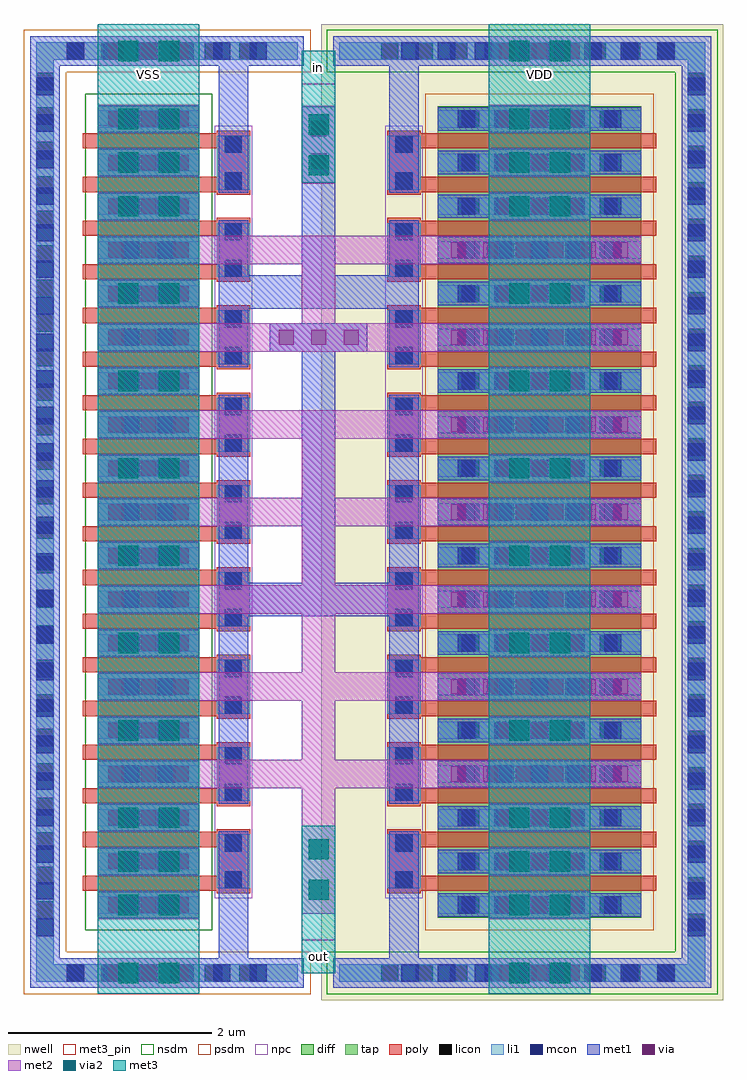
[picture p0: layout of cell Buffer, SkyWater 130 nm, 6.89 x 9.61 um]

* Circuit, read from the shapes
.subckt Buffer VDD VSS in out
XM1 VSS VSS VSS VSS sky130_fd_pr__nfet_01v8 w=1 l=0.15 m=4
XM2 out n1 VSS VSS sky130_fd_pr__nfet_01v8 w=1 l=0.15 m=10
XM3 n1 in VSS VSS sky130_fd_pr__nfet_01v8 w=1 l=0.15 m=4
XM4 VDD VDD VDD VDD sky130_fd_pr__pfet_01v8 w=2 l=0.15 m=4
XM5 out n1 VDD VDD sky130_fd_pr__pfet_01v8 w=2 l=0.15 m=10
XM6 n1 in VDD VDD sky130_fd_pr__pfet_01v8 w=2 l=0.15 m=4
.ends

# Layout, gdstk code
from math import pi, radians
import gdstk
lib = gdstk.Library(unit=1e-6, precision=1e-09)
def R(c, l, rs):  # rectangles x0, y0, x1, y1
    for r in rs: c.add(gdstk.rectangle(r[:2], r[2:], *l))
def A(c, l, x, y, w, h, nx, ny, dx, dy):  # array of equal rectangles
    R(c, l, [(x+i*dx, y+j*dy, x+i*dx+w, y+j*dy+h) for i in range(nx) for j in range(ny)])
nwell = (64, 20)
diff = (65, 20)
tap = (65, 44)
poly = (66, 20)
licon = (66, 44)
li1 = (67, 20)
mcon = (67, 44)
met1 = (68, 20)
via = (68, 44)
met2 = (69, 20)
via2 = (69, 44)
met3_pin = (70, 16)
met3 = (70, 20)
nsdm = (93, 44)
psdm = (94, 20)
npc = (95, 20)

m1m2_c_cdns_713556821256 = lib.new_cell('M1M2_C_CDNS_7135568212561')
R(m1m2_c_cdns_713556821256, met1, [(-0.5,-0.145,0.5,0.145)])
A(m1m2_c_cdns_713556821256, via, -0.395, -0.075, 0.15, 0.15, 3, 1, 0.32, 0)
R(m1m2_c_cdns_713556821256, met2, [(-0.5,-0.145,0.5,0.145)])

c_m1m2_c_cdns_713556821256 = lib.new_cell('M1M2_C_CDNS_7135568212563')
R(c_m1m2_c_cdns_713556821256, met1, [(-0.5,-0.13,0.5,0.13)])
A(c_m1m2_c_cdns_713556821256, via, -0.395, -0.075, 0.15, 0.15, 3, 1, 0.32, 0)
R(c_m1m2_c_cdns_713556821256, met2, [(-0.5,-0.14,0.5,0.14)])

m2m3_c_cdns_713556821255 = lib.new_cell('M2M3_C_CDNS_713556821255')
R(m2m3_c_cdns_713556821255, met2, [(-0.165,-0.43,0.165,0.43)])
R(m2m3_c_cdns_713556821255, via2, [(-0.1,-0.3,0.1,-0.1), (-0.1,0.1,0.1,0.3)])
R(m2m3_c_cdns_713556821255, met3, [(-0.165,-0.43,0.165,0.43)])

m2m3_c_cdns_713556821256 = lib.new_cell('M2M3_C_CDNS_7135568212562')
R(m2m3_c_cdns_713556821256, met2, [(-0.5,-0.145,0.5,0.145)])
R(m2m3_c_cdns_713556821256, via2, [(-0.3,-0.1,-0.1,0.1), (0.1,-0.1,0.3,0.1)])
R(m2m3_c_cdns_713556821256, met3, [(-0.5,-0.165,0.5,0.165)])

c_m2m3_c_cdns_713556821256 = lib.new_cell('M2M3_C_CDNS_7135568212564')
R(c_m2m3_c_cdns_713556821256, met2, [(-0.5,-0.14,0.5,0.14)])
R(c_m2m3_c_cdns_713556821256, via2, [(-0.3,-0.1,-0.1,0.1), (0.1,-0.1,0.3,0.1)])
R(c_m2m3_c_cdns_713556821256, met3, [(-0.5,-0.165,0.5,0.165)])

polyconn_cdns_7135568212 = lib.new_cell('polyConn_CDNS_713556821250')
R(polyconn_cdns_7135568212, poly, [(-0.165,-0.315,0.165,0.315)])
R(polyconn_cdns_7135568212, licon, [(-0.085,-0.265,0.085,-0.095), (-0.085,0.095,0.085,0.265)])
R(polyconn_cdns_7135568212, li1, [(-0.165,-0.265,0.165,0.265)])
R(polyconn_cdns_7135568212, mcon, [(-0.085,-0.265,0.085,-0.095), (-0.085,0.095,0.085,0.265)])
R(polyconn_cdns_7135568212, met1, [(-0.145,-0.295,0.145,0.295)])
R(polyconn_cdns_7135568212, npc, [(-0.185,-0.365,0.185,0.365)])

m1m2_c_cdns_713556821254 = lib.new_cell('M1M2_C_CDNS_7135568212544')
R(m1m2_c_cdns_713556821254, met1, [(-0.5,-0.13,0.5,0.13)])
A(m1m2_c_cdns_713556821254, via, -0.395, -0.075, 0.15, 0.15, 3, 1, 0.32, 0)
R(m1m2_c_cdns_713556821254, met2, [(-0.5,-0.13,0.5,0.13)])

nfet_01v8_cdns_713556821 = lib.new_cell('nfet_01v8_CDNS_7135568212510')
R(nfet_01v8_cdns_713556821, diff, [(0,-0.845,1,0.055)])
R(nfet_01v8_cdns_713556821, poly, [(-0.15,-0.58,1.15,-0.43), (-0.15,-0.15,1.15,0)])
R(nfet_01v8_cdns_713556821, licon, [(0.245,-0.805,0.415,-0.635), (0.585,-0.805,0.755,-0.635), (0.245,-0.375,0.415,-0.205), (0.585,-0.375,0.755,-0.205)])
R(nfet_01v8_cdns_713556821, li1, [(0,-0.805,1,-0.635), (0,-0.375,1,-0.205)])
R(nfet_01v8_cdns_713556821, mcon, [(0.235,-0.805,0.405,-0.635), (0.595,-0.805,0.765,-0.635), (0.235,-0.375,0.405,-0.205), (0.595,-0.375,0.765,-0.205)])
R(nfet_01v8_cdns_713556821, met1, [(0,-0.835,1,-0.605), (0,-0.405,1,-0.175)])
R(nfet_01v8_cdns_713556821, nsdm, [(-0.125,-0.97,1.125,0.18)])

c_nfet_01v8_cdns_713556821 = lib.new_cell('nfet_01v8_CDNS_7135568212517')
R(c_nfet_01v8_cdns_713556821, diff, [(0,-4.245,1,0.055)])
A(c_nfet_01v8_cdns_713556821, poly, -0.15, -4.02, 1.3, 0.15, 1, 10, 0, 0.43)
A(c_nfet_01v8_cdns_713556821, licon, 0.245, -4.245, 0.17, 0.17, 1, 10, 0, 0.43)
A(c_nfet_01v8_cdns_713556821, licon, 0.585, -4.245, 0.17, 0.17, 1, 10, 0, 0.43)
A(c_nfet_01v8_cdns_713556821, li1, 0, -4.245, 1, 0.17, 1, 10, 0, 0.43)
A(c_nfet_01v8_cdns_713556821, mcon, 0.235, -4.245, 0.17, 0.17, 1, 10, 0, 0.43)
A(c_nfet_01v8_cdns_713556821, mcon, 0.595, -4.245, 0.17, 0.17, 1, 10, 0, 0.43)
A(c_nfet_01v8_cdns_713556821, met1, 0, -4.275, 1, 0.23, 1, 10, 0, 0.43)
R(c_nfet_01v8_cdns_713556821, nsdm, [(-0.125,-4.37,1.125,0.18)])

m1m2_c_cdns_713556821255 = lib.new_cell('M1M2_C_CDNS_7135568212558')
R(m1m2_c_cdns_713556821255, met1, [(-1,-0.13,1,0.13)])
A(m1m2_c_cdns_713556821255, via, -0.875, -0.075, 0.15, 0.15, 6, 1, 0.32, 0)
R(m1m2_c_cdns_713556821255, met2, [(-1,-0.13,1,0.13)])

pfet_01v8_cdns_713556821 = lib.new_cell('pfet_01v8_CDNS_7135568212516')
R(pfet_01v8_cdns_713556821, nwell, [(-0.18,-1.025,2.18,0.235)])
R(pfet_01v8_cdns_713556821, diff, [(0,-0.845,2,0.055)])
R(pfet_01v8_cdns_713556821, poly, [(-0.15,-0.58,2.15,-0.43), (-0.15,-0.15,2.15,0)])
A(pfet_01v8_cdns_713556821, licon, 0.235, -0.805, 0.17, 0.17, 5, 2, 0.34, 0.43)
R(pfet_01v8_cdns_713556821, li1, [(0,-0.805,2,-0.635), (0,-0.375,2,-0.205)])
A(pfet_01v8_cdns_713556821, mcon, 0.195, -0.805, 0.17, 0.17, 5, 2, 0.36, 0.43)
R(pfet_01v8_cdns_713556821, met1, [(0,-0.835,2,-0.605), (0,-0.405,2,-0.175)])
R(pfet_01v8_cdns_713556821, psdm, [(-0.125,-0.97,2.125,0.18)])

c_pfet_01v8_cdns_713556821 = lib.new_cell('pfet_01v8_CDNS_7135568212518')
R(c_pfet_01v8_cdns_713556821, nwell, [(-0.18,-4.425,2.18,0.235)])
R(c_pfet_01v8_cdns_713556821, diff, [(0,-4.245,2,0.055)])
A(c_pfet_01v8_cdns_713556821, poly, -0.15, -4.02, 2.3, 0.15, 1, 10, 0, 0.43)
A(c_pfet_01v8_cdns_713556821, licon, 0.235, -4.245, 0.17, 0.17, 5, 10, 0.34, 0.43)
A(c_pfet_01v8_cdns_713556821, li1, 0, -4.245, 2, 0.17, 1, 10, 0, 0.43)
A(c_pfet_01v8_cdns_713556821, mcon, 0.195, -4.245, 0.17, 0.17, 5, 10, 0.36, 0.43)
A(c_pfet_01v8_cdns_713556821, met1, 0, -4.275, 2, 0.23, 1, 10, 0, 0.43)
R(c_pfet_01v8_cdns_713556821, psdm, [(-0.125,-4.37,2.125,0.18)])

c_m1m2_c_cdns_713556821256_ = lib.new_cell('M1M2_C_CDNS_7135568212565')
R(c_m1m2_c_cdns_713556821256_, met1, [(-0.48,-0.14,0.48,0.14)])
A(c_m1m2_c_cdns_713556821256_, via, -0.395, -0.075, 0.15, 0.15, 3, 1, 0.32, 0)
R(c_m1m2_c_cdns_713556821256_, met2, [(-0.48,-0.14,0.48,0.14)])

c_nfet_01v8_cdns_713556821_ = lib.new_cell('nfet_01v8_CDNS_7135568212514')
R(c_nfet_01v8_cdns_713556821_, diff, [(0,-1.665,1,0.225)])
A(c_nfet_01v8_cdns_713556821_, poly, -0.15, -1.44, 1.3, 0.15, 1, 4, 0, 0.43)
A(c_nfet_01v8_cdns_713556821_, licon, 0.245, -1.665, 0.17, 0.17, 1, 5, 0, 0.43)
A(c_nfet_01v8_cdns_713556821_, licon, 0.585, -1.665, 0.17, 0.17, 1, 5, 0, 0.43)
A(c_nfet_01v8_cdns_713556821_, li1, 0, -1.665, 1, 0.17, 1, 5, 0, 0.43)
A(c_nfet_01v8_cdns_713556821_, mcon, 0.235, -1.665, 0.17, 0.17, 1, 5, 0, 0.43)
A(c_nfet_01v8_cdns_713556821_, mcon, 0.595, -1.665, 0.17, 0.17, 1, 5, 0, 0.43)
A(c_nfet_01v8_cdns_713556821_, met1, 0, -1.695, 1, 0.23, 1, 5, 0, 0.43)
R(c_nfet_01v8_cdns_713556821_, nsdm, [(-0.125,-1.79,1.125,0.35)])

c_m1m2_c_cdns_713556821255 = lib.new_cell('M1M2_C_CDNS_7135568212559')
R(c_m1m2_c_cdns_713556821255, met1, [(-0.165,-0.375,0.165,0.375)])
R(c_m1m2_c_cdns_713556821255, via, [(-0.075,-0.235,0.075,-0.085), (-0.075,0.085,0.075,0.235)])
R(c_m1m2_c_cdns_713556821255, met2, [(-0.165,-0.385,0.165,0.385)])

c_m2m3_c_cdns_713556821256_ = lib.new_cell('M2M3_C_CDNS_7135568212560')
R(c_m2m3_c_cdns_713556821256_, met2, [(-0.165,-0.385,0.165,0.385)])
R(c_m2m3_c_cdns_713556821256_, via2, [(-0.1,-0.3,0.1,-0.1), (-0.1,0.1,0.1,0.3)])
R(c_m2m3_c_cdns_713556821256_, met3, [(-0.165,-0.375,0.165,0.375)])

c_nfet_01v8_cdns_713556821__ = lib.new_cell('nfet_01v8_CDNS_7135568212513')
R(c_nfet_01v8_cdns_713556821__, diff, [(0,-0.635,1,0.265)])
R(c_nfet_01v8_cdns_713556821__, poly, [(-0.15,-0.58,1.15,-0.43), (-0.15,-0.15,1.15,0)])
R(c_nfet_01v8_cdns_713556821__, licon, [(0.245,-0.375,0.415,-0.205), (0.585,-0.375,0.755,-0.205), (0.245,0.055,0.415,0.225), (0.585,0.055,0.755,0.225)])
R(c_nfet_01v8_cdns_713556821__, li1, [(0,-0.375,1,-0.205), (0,0.055,1,0.225)])
R(c_nfet_01v8_cdns_713556821__, mcon, [(0.235,-0.375,0.405,-0.205), (0.595,-0.375,0.765,-0.205), (0.235,0.055,0.405,0.225), (0.595,0.055,0.765,0.225)])
R(c_nfet_01v8_cdns_713556821__, met1, [(0,-0.405,1,-0.175), (0,0.025,1,0.255)])
R(c_nfet_01v8_cdns_713556821__, nsdm, [(-0.125,-0.76,1.125,0.39)])

c_pfet_01v8_cdns_713556821_ = lib.new_cell('pfet_01v8_CDNS_7135568212515')
R(c_pfet_01v8_cdns_713556821_, nwell, [(-0.18,-1.845,2.18,0.405)])
R(c_pfet_01v8_cdns_713556821_, diff, [(0,-1.665,2,0.225)])
A(c_pfet_01v8_cdns_713556821_, poly, -0.15, -1.44, 2.3, 0.15, 1, 4, 0, 0.43)
A(c_pfet_01v8_cdns_713556821_, licon, 0.235, -1.665, 0.17, 0.17, 5, 5, 0.34, 0.43)
A(c_pfet_01v8_cdns_713556821_, li1, 0, -1.665, 2, 0.17, 1, 5, 0, 0.43)
A(c_pfet_01v8_cdns_713556821_, mcon, 0.195, -1.665, 0.17, 0.17, 5, 5, 0.36, 0.43)
A(c_pfet_01v8_cdns_713556821_, met1, 0, -1.695, 2, 0.23, 1, 5, 0, 0.43)
R(c_pfet_01v8_cdns_713556821_, psdm, [(-0.125,-1.79,2.125,0.35)])

c_pfet_01v8_cdns_713556821__ = lib.new_cell('pfet_01v8_CDNS_7135568212512')
R(c_pfet_01v8_cdns_713556821__, nwell, [(-0.18,-0.815,2.18,0.445)])
R(c_pfet_01v8_cdns_713556821__, diff, [(0,-0.635,2,0.265)])
R(c_pfet_01v8_cdns_713556821__, poly, [(-0.15,-0.58,2.15,-0.43), (-0.15,-0.15,2.15,0)])
A(c_pfet_01v8_cdns_713556821__, licon, 0.235, -0.375, 0.17, 0.17, 5, 2, 0.34, 0.43)
R(c_pfet_01v8_cdns_713556821__, li1, [(0,-0.375,2,-0.205), (0,0.055,2,0.225)])
A(c_pfet_01v8_cdns_713556821__, mcon, 0.195, -0.375, 0.17, 0.17, 5, 2, 0.36, 0.43)
R(c_pfet_01v8_cdns_713556821__, met1, [(0,-0.405,2,-0.175), (0,0.025,2,0.255)])
R(c_pfet_01v8_cdns_713556821__, psdm, [(-0.125,-0.76,2.125,0.39)])

buffer = lib.new_cell('Buffer')
R(buffer, nwell, [(2.93,-9.61,6.89,0)])
R(buffer, tap, [(0.125,-9.43,2.7,-9.26), (3.11,-9.43,6.71,-9.26), (0.125,-9.26,0.295,-0.35), (6.54,-9.26,6.71,-0.35), (0.125,-0.35,2.7,-0.18), (3.11,-0.35,6.71,-0.18)])
A(buffer, poly, 1.73, -8.535, 0.5, 0.15, 1, 18, 0, 0.43)
A(buffer, poly, 3.58, -8.535, 0.5, 0.15, 1, 18, 0, 0.43)
A(buffer, licon, 0.425, -9.43, 0.17, 0.17, 6, 2, 0.34, 9.08)
A(buffer, licon, 3.52, -9.43, 0.17, 0.17, 9, 2, 0.34, 9.08)
A(buffer, licon, 6.54, -8.93, 0.17, 0.17, 1, 24, 0, 0.36)
A(buffer, licon, 0.125, -8.81, 0.17, 0.17, 1, 25, 0, 0.34)
R(buffer, li1, [(0.125,-9.43,2.7,-9.26), (3.11,-9.43,6.71,-9.26), (0.125,-9.26,0.295,-0.35), (6.54,-9.26,6.71,-0.35), (0.125,-0.35,2.7,-0.18), (3.11,-0.35,6.71,-0.18)])
A(buffer, mcon, 0.425, -9.43, 0.17, 0.17, 6, 2, 0.36, 9.08)
A(buffer, mcon, 3.72, -9.43, 0.17, 0.17, 8, 2, 0.36, 9.08)
A(buffer, mcon, 0.125, -8.98, 0.17, 0.17, 1, 24, 0, 0.36)
A(buffer, mcon, 6.54, -8.98, 0.17, 0.17, 1, 24, 0, 0.36)
R(buffer, met1, [(0.065,-9.49,2.76,-9.2), (3.05,-9.49,6.77,-9.2), (0.065,-9.2,0.355,-0.41), (1.92,-9.2,2.21,-7.95), (3.6,-9.2,3.89,-7.95), (6.48,-9.2,6.77,-0.41), (1.92,-7.68,2.21,-5.83), (3.6,-7.68,3.89,-5.83), (1.92,-5.83,3.89,-5.5), (1.92,-5.5,2.21,-3.65), (2.74,-5.5,3.07,-2.945), (3.6,-5.5,3.89,-3.65), (1.92,-3.38,2.21,-2.805), (3.6,-3.38,3.89,-2.805), (1.92,-2.805,3.89,-2.475), (1.92,-2.475,2.21,-1.93), (2.74,-2.475,3.07,-0.815), (3.6,-2.475,3.89,-1.93), (1.92,-1.66,2.21,-0.41), (3.6,-1.66,3.89,-0.41), (0.065,-0.41,2.76,-0.12), (3.05,-0.41,6.77,-0.12)])
A(buffer, met2, 0.73, -7.525, 5.35, 0.28, 1, 7, 0, 0.86)
A(buffer, met2, 2.74, -7.245, 0.33, 0.58, 1, 4, 0, 0.86)
R(buffer, met2, [(2.74,-8.76,3.07,-7.525), (2.74,-2.945,3.07,-2.365)])
R(buffer, met3_pin, [(2.74,-9.345,3.07,-9.015), (0.73,-1,1.73,0), (4.58,-1,5.58,0), (2.74,-0.595,3.07,-0.265)])
R(buffer, met3, [(0.73,-9.55,1.73,0), (4.58,-9.55,5.58,0), (2.74,-9.345,3.07,-7.895), (2.74,-1.565,3.07,-0.265)])
R(buffer, nsdm, [(2.985,-9.555,6.835,-9.135), (6.415,-9.135,6.835,-0.475), (2.985,-0.475,6.835,-0.055)])
R(buffer, psdm, [(0,-9.555,2.825,-9.135), (0,-9.135,0.42,-0.475), (0,-0.475,2.825,-0.055)])
A(buffer, npc, 1.88, -7.88, 0.37, 0.13, 1, 8, 0, 0.86)
A(buffer, npc, 3.56, -7.88, 0.37, 0.13, 1, 8, 0, 0.86)
buffer.add(gdstk.Reference(m1m2_c_cdns_713556821256, (1.23,-9.345)))
buffer.add(gdstk.Reference(c_m1m2_c_cdns_713556821256, (1.23,-8.245)))
buffer.add(gdstk.Reference(c_m1m2_c_cdns_713556821256, (1.23,-8.675)))
buffer.add(gdstk.Reference(m2m3_c_cdns_713556821255, (2.905,-8.325)))
buffer.add(gdstk.Reference(m2m3_c_cdns_713556821256, (1.23,-9.345)))
buffer.add(gdstk.Reference(c_m2m3_c_cdns_713556821256, (1.23,-8.245)))
buffer.add(gdstk.Reference(c_m2m3_c_cdns_713556821256, (1.23,-8.675)))
buffer.add(gdstk.Reference(polyconn_cdns_7135568212, (2.065,-8.245), rotation=pi, x_reflection=True))
buffer.add(gdstk.Reference(m1m2_c_cdns_713556821254, (1.23,-7.385)))
buffer.add(gdstk.Reference(c_m1m2_c_cdns_713556821256, (1.23,-7.815)))
buffer.add(gdstk.Reference(c_m2m3_c_cdns_713556821256, (1.23,-7.815)))
buffer.add(gdstk.Reference(polyconn_cdns_7135568212, (2.065,-7.385), rotation=pi, x_reflection=True))
buffer.add(gdstk.Reference(nfet_01v8_cdns_713556821, (0.73,-7.955)))
buffer.add(gdstk.Reference(m1m2_c_cdns_713556821254, (1.23,-6.525)))
buffer.add(gdstk.Reference(c_m1m2_c_cdns_713556821256, (1.23,-6.955)))
buffer.add(gdstk.Reference(c_m2m3_c_cdns_713556821256, (1.23,-6.955)))
buffer.add(gdstk.Reference(polyconn_cdns_7135568212, (2.065,-6.525), rotation=pi, x_reflection=True))
buffer.add(gdstk.Reference(c_m1m2_c_cdns_713556821256, (1.23,-6.095)))
buffer.add(gdstk.Reference(c_m2m3_c_cdns_713556821256, (1.23,-6.095)))
buffer.add(gdstk.Reference(polyconn_cdns_7135568212, (2.065,-5.665), rotation=pi, x_reflection=True))
buffer.add(gdstk.Reference(m1m2_c_cdns_713556821254, (1.23,-5.665)))
buffer.add(gdstk.Reference(c_m1m2_c_cdns_713556821256, (1.23,-5.235)))
buffer.add(gdstk.Reference(c_m2m3_c_cdns_713556821256, (1.23,-5.235)))
buffer.add(gdstk.Reference(m1m2_c_cdns_713556821254, (1.23,-4.805)))
buffer.add(gdstk.Reference(polyconn_cdns_7135568212, (2.065,-4.805), rotation=pi, x_reflection=True))
buffer.add(gdstk.Reference(c_nfet_01v8_cdns_713556821, (0.73,-3.655)))
buffer.add(gdstk.Reference(m1m2_c_cdns_713556821256, (5.08,-9.345)))
buffer.add(gdstk.Reference(c_m1m2_c_cdns_713556821256, (5.08,-8.675)))
buffer.add(gdstk.Reference(c_m1m2_c_cdns_713556821256, (5.08,-8.245)))
buffer.add(gdstk.Reference(m2m3_c_cdns_713556821256, (5.08,-9.345)))
buffer.add(gdstk.Reference(c_m2m3_c_cdns_713556821256, (5.08,-8.675)))
buffer.add(gdstk.Reference(c_m2m3_c_cdns_713556821256, (5.08,-8.245)))
buffer.add(gdstk.Reference(polyconn_cdns_7135568212, (3.745,-8.245)))
buffer.add(gdstk.Reference(m1m2_c_cdns_713556821255, (5.08,-7.385)))
buffer.add(gdstk.Reference(c_m1m2_c_cdns_713556821256, (5.08,-7.815)))
buffer.add(gdstk.Reference(c_m2m3_c_cdns_713556821256, (5.08,-7.815)))
buffer.add(gdstk.Reference(polyconn_cdns_7135568212, (3.745,-7.385)))
buffer.add(gdstk.Reference(pfet_01v8_cdns_713556821, (4.08,-7.955)))
buffer.add(gdstk.Reference(m1m2_c_cdns_713556821255, (5.08,-6.525)))
buffer.add(gdstk.Reference(c_m1m2_c_cdns_713556821256, (5.08,-6.955)))
buffer.add(gdstk.Reference(c_m2m3_c_cdns_713556821256, (5.08,-6.955)))
buffer.add(gdstk.Reference(polyconn_cdns_7135568212, (3.745,-6.525)))
buffer.add(gdstk.Reference(c_m1m2_c_cdns_713556821256, (5.08,-6.095)))
buffer.add(gdstk.Reference(c_m2m3_c_cdns_713556821256, (5.08,-6.095)))
buffer.add(gdstk.Reference(polyconn_cdns_7135568212, (3.745,-5.665)))
buffer.add(gdstk.Reference(m1m2_c_cdns_713556821255, (5.08,-5.665)))
buffer.add(gdstk.Reference(c_m1m2_c_cdns_713556821256, (5.08,-5.235)))
buffer.add(gdstk.Reference(c_m2m3_c_cdns_713556821256, (5.08,-5.235)))
buffer.add(gdstk.Reference(m1m2_c_cdns_713556821255, (5.08,-4.805)))
buffer.add(gdstk.Reference(polyconn_cdns_7135568212, (3.745,-4.805)))
buffer.add(gdstk.Reference(c_pfet_01v8_cdns_713556821, (4.08,-3.655)))
buffer.add(gdstk.Reference(m1m2_c_cdns_713556821254, (1.23,-3.945)))
buffer.add(gdstk.Reference(c_m1m2_c_cdns_713556821256, (1.23,-4.375)))
buffer.add(gdstk.Reference(c_m2m3_c_cdns_713556821256, (1.23,-4.375)))
buffer.add(gdstk.Reference(polyconn_cdns_7135568212, (2.065,-3.945), rotation=pi, x_reflection=True))
buffer.add(gdstk.Reference(m1m2_c_cdns_713556821254, (1.23,-3.085)))
buffer.add(gdstk.Reference(c_m1m2_c_cdns_713556821256, (1.23,-3.515)))
buffer.add(gdstk.Reference(c_m1m2_c_cdns_713556821256, (1.23,-2.655)))
buffer.add(gdstk.Reference(c_m1m2_c_cdns_713556821256_, (2.905,-3.085)))
buffer.add(gdstk.Reference(c_m2m3_c_cdns_713556821256, (1.23,-3.515)))
buffer.add(gdstk.Reference(c_m2m3_c_cdns_713556821256, (1.23,-2.655)))
buffer.add(gdstk.Reference(polyconn_cdns_7135568212, (2.065,-3.085), rotation=pi, x_reflection=True))
buffer.add(gdstk.Reference(c_nfet_01v8_cdns_713556821_, (0.73,-1.935)))
buffer.add(gdstk.Reference(m1m2_c_cdns_713556821254, (1.23,-2.225)))
buffer.add(gdstk.Reference(c_m1m2_c_cdns_713556821256, (1.23,-1.795)))
buffer.add(gdstk.Reference(c_m2m3_c_cdns_713556821256, (1.23,-1.795)))
buffer.add(gdstk.Reference(polyconn_cdns_7135568212, (2.065,-2.225), rotation=pi, x_reflection=True))
buffer.add(gdstk.Reference(polyconn_cdns_7135568212, (2.065,-1.365), rotation=pi, x_reflection=True))
buffer.add(gdstk.Reference(c_m1m2_c_cdns_713556821255, (2.905,-1.19)))
buffer.add(gdstk.Reference(c_m1m2_c_cdns_713556821256, (1.23,-0.935)))
buffer.add(gdstk.Reference(c_m1m2_c_cdns_713556821256, (1.23,-1.365)))
buffer.add(gdstk.Reference(c_m2m3_c_cdns_713556821256_, (2.905,-1.19)))
buffer.add(gdstk.Reference(c_m2m3_c_cdns_713556821256, (1.23,-0.935)))
buffer.add(gdstk.Reference(c_m2m3_c_cdns_713556821256, (1.23,-1.365)))
buffer.add(gdstk.Reference(c_nfet_01v8_cdns_713556821__, (0.73,-1.075)))
buffer.add(gdstk.Reference(m2m3_c_cdns_713556821256, (1.23,-0.265)))
buffer.add(gdstk.Reference(m1m2_c_cdns_713556821256, (1.23,-0.265)))
buffer.add(gdstk.Reference(m1m2_c_cdns_713556821255, (5.08,-3.945)))
buffer.add(gdstk.Reference(c_m1m2_c_cdns_713556821256, (5.08,-4.375)))
buffer.add(gdstk.Reference(c_m2m3_c_cdns_713556821256, (5.08,-4.375)))
buffer.add(gdstk.Reference(polyconn_cdns_7135568212, (3.745,-3.945)))
buffer.add(gdstk.Reference(m1m2_c_cdns_713556821255, (5.08,-3.085)))
buffer.add(gdstk.Reference(c_m1m2_c_cdns_713556821256, (5.08,-3.515)))
buffer.add(gdstk.Reference(c_m1m2_c_cdns_713556821256, (5.08,-2.655)))
buffer.add(gdstk.Reference(c_m2m3_c_cdns_713556821256, (5.08,-3.515)))
buffer.add(gdstk.Reference(c_m2m3_c_cdns_713556821256, (5.08,-2.655)))
buffer.add(gdstk.Reference(polyconn_cdns_7135568212, (3.745,-3.085)))
buffer.add(gdstk.Reference(c_pfet_01v8_cdns_713556821_, (4.08,-1.935)))
buffer.add(gdstk.Reference(m1m2_c_cdns_713556821255, (5.08,-2.225)))
buffer.add(gdstk.Reference(c_m1m2_c_cdns_713556821256, (5.08,-1.365)))
buffer.add(gdstk.Reference(c_m1m2_c_cdns_713556821256, (5.08,-1.795)))
buffer.add(gdstk.Reference(c_m2m3_c_cdns_713556821256, (5.08,-1.365)))
buffer.add(gdstk.Reference(c_m2m3_c_cdns_713556821256, (5.08,-1.795)))
buffer.add(gdstk.Reference(polyconn_cdns_7135568212, (3.745,-2.225)))
buffer.add(gdstk.Reference(polyconn_cdns_7135568212, (3.745,-1.365)))
buffer.add(gdstk.Reference(m1m2_c_cdns_713556821256, (5.08,-0.265)))
buffer.add(gdstk.Reference(c_m1m2_c_cdns_713556821256, (5.08,-0.935)))
buffer.add(gdstk.Reference(m2m3_c_cdns_713556821256, (5.08,-0.265)))
buffer.add(gdstk.Reference(c_m2m3_c_cdns_713556821256, (5.08,-0.935)))
buffer.add(gdstk.Reference(c_pfet_01v8_cdns_713556821__, (4.08,-1.075)))
buffer.add(gdstk.Label('VDD', (5.08,-0.5), layer=70, texttype=5))
buffer.add(gdstk.Label('VSS', (1.23,-0.5), layer=70, texttype=5))
buffer.add(gdstk.Label('in', (2.905,-0.43), layer=70, texttype=5))
buffer.add(gdstk.Label('out', (2.905,-9.18), layer=70, texttype=5))

lib.write_gds('Buffer.gds')
